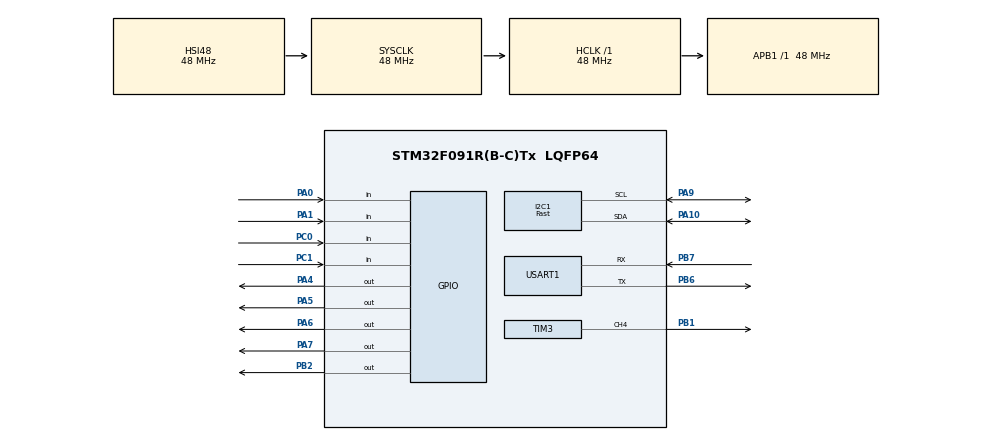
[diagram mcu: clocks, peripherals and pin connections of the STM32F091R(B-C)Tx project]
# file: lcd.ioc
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I2C1.I2C_Speed_Mode=I2C_Fast
I2C1.Timing=0x0010020A
Mcu.Family=STM32F0
Mcu.Name=STM32F091R(B-C)Tx
Mcu.Package=LQFP64
PA0.GPIO_PuPd=GPIO_PULLUP
PA0.Signal=GPIO_Input
PA1.GPIO_PuPd=GPIO_PULLUP
PA1.Signal=GPIO_Input
PA10.GPIO_FMA10=SYSCFG_CFGR1_I2C_FMP_PA10
PA10.GPIO_Pu=GPIO_PULLUP
PA10.Mode=I2C
PA10.Signal=I2C1_SDA
PA13.Mode=Serial_Wire
PA13.Signal=SYS_SWDIO
PA14.Mode=Serial_Wire
PA14.Signal=SYS_SWCLK
PA4.Signal=GPIO_Output
PA5.Signal=GPIO_Output
PA6.Signal=GPIO_Output
PA7.Signal=GPIO_Output
PA9.GPIO_FMA9=SYSCFG_CFGR1_I2C_FMP_PA9
PA9.GPIO_Pu=GPIO_PULLUP
PA9.Mode=I2C
PA9.Signal=I2C1_SCL
PB1.Signal=S_TIM3_CH4
PB2.Signal=GPIO_Output
PB6.Mode=Asynchronous
PB6.Signal=USART1_TX
PB7.Mode=Asynchronous
PB7.Signal=USART1_RX
PC0.GPIO_PuPd=GPIO_PULLUP
PC0.Signal=GPIO_Input
PC1.GPIO_PuPd=GPIO_PULLUP
PC1.Signal=GPIO_Input
PF0-OSC_IN.Mode=HSE-External-Oscillator
PF0-OSC_IN.Signal=RCC_OSC_IN
PF1-OSC_OUT.Mode=HSE-External-Oscillator
PF1-OSC_OUT.Signal=RCC_OSC_OUT
ProjectManager.HeapSize=0x200
ProjectManager.StackSize=0x400
ProjectManager.TargetToolchain=STM32CubeIDE
RCC.AHBFreq_Value=48000000
RCC.APB1Freq_Value=48000000
RCC.APB1TimFreq_Value=48000000
RCC.FLatency-AdvancedSettings=FLASH_LATENCY_1
RCC.HCLKFreq_Value=48000000
RCC.PLLDivider=RCC_PREDIV_DIV2
RCC.PLLMUL=RCC_PLL_MUL12
RCC.PREFETCH_ENABLE-AdvancedSettings=1
RCC.SYSCLKFreq_VALUE=48000000
RCC.SYSCLKSource=RCC_SYSCLKSOURCE_HSI48
SH.S_TIM3_CH4.0=TIM3_CH4,PWM Generation4 CH4
TIM3.Channel-PWM\ Generation4\ CH4=TIM_CHANNEL_4
TIM3.Period=20000
TIM3.Prescaler=200-1
USART1.VirtualMode-Asynchronous=VM_ASYNC
board=NUCLEO-F091RC

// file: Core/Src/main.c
/* USER CODE BEGIN Header */
/**
  ******************************************************************************
  * @file           : main.c
  * @brief          : Main program body
  ******************************************************************************
  */
/* USER CODE END Header */

#include "main.h"
#include "i2c.h"
#include "tim.h"
#include "usart.h"   // Include UART library
#include "gpio.h"
#include "lcd_i2c.h"
#include <string.h>
#include "keypad.h"
#include <stdbool.h>
#include <stdio.h>
#include "cmsis_os.h" // FreeRTOS library
#include "FreeRTOS.h"  // FreeRTOS library
#include "task.h"      // FreeRTOS library

/* USER CODE BEGIN PD */
extern I2C_HandleTypeDef hi2c1;

#define PASSWORD "5555"
#define MAX_ATTEMPTS 3
#define SERVO_UNLOCK 2500
#define SERVO_LOCK 500
#define LOCKOUT_TIME 120
#define UART_BUFFER_SIZE 100  // Buffer size for UART communication

/* USER CODE END PD */

/* USER CODE BEGIN PV */
char entered_password[5] = "";
uint8_t password_index = 0;
uint8_t attempt_count = 0;
bool keypad_locked = false;
bool lockout_active = false;
char uart_rx_buffer[UART_BUFFER_SIZE];  // Buffer for receiving UART data

/* USER CODE END PV */

void SystemClock_Config(void);

/* USER CODE BEGIN PFP */
void set_servo_angle(TIM_HandleTypeDef *htim, uint16_t channel, uint8_t angle);
void reset_password_input();
void check_password();
void handle_lockout();
void send_uart_command(const char *cmd);
void receive_uart_response();
void send_firebase_alert();  // New function to send alert to Firebase
/* USER CODE END PFP */

/* USER CODE BEGIN 0 */
void send_uart_command(const char *cmd) {
    HAL_UART_Transmit(&huart1, (uint8_t *)cmd, strlen(cmd), HAL_MAX_DELAY);
    HAL_Delay(100);  // Small delay for stability
}

void receive_uart_response() {
    memset(uart_rx_buffer, 0, UART_BUFFER_SIZE);
    HAL_UART_Receive(&huart1, (uint8_t *)uart_rx_buffer, UART_BUFFER_SIZE - 1, 1000);
    // Display ESP32 response on LCD
    lcd_clear();
    lcd_send_string("          ESP32 Response:");
    LCD_SetCursor(1, 0);
    lcd_send_string(uart_rx_buffer);
    HAL_Delay(2000);
}

// 🔹 New function to send an alert to Firebase after 3 failed attempts
void send_firebase_alert() {
    lcd_clear();
    lcd_send_string("          Sending Alert...");
    HAL_Delay(2000);

    send_uart_command("FIREBASE_ALERT\n");  // Command to notify Firebase
    HAL_Delay(2000);

    lcd_clear();
    lcd_send_string("          Alert Sent!");
    HAL_Delay(2000);
}

void reset_password_input() {
    memset(entered_password, 0, sizeof(entered_password));
    password_index = 0;
    lcd_clear();
    lcd_send_string("          Password:");
}

void set_servo_angle(TIM_HandleTypeDef *htim, uint16_t channel, uint8_t angle) {
    uint16_t pulse_length = SERVO_LOCK + ((SERVO_UNLOCK - SERVO_LOCK) * angle) / 180;
    __HAL_TIM_SET_COMPARE(htim, channel, pulse_length);
}

void check_password() {
    if (password_index != 4) return;
    entered_password[password_index] = '\0';

    if (strcmp(entered_password, PASSWORD) == 0) {
        lcd_clear();
        lcd_send_string("          Access Granted");
        HAL_Delay(2000);
        lcd_clear();
        lcd_send_string("          Door Unlocked");
        set_servo_angle(&htim3, TIM_CHANNEL_4, 210);
        HAL_Delay(3000);
        attempt_count = 0;
    } else {
        attempt_count++;
        lcd_clear();
        lcd_send_string("          Wrong Password!");
        HAL_Delay(2000);

        if (attempt_count >= MAX_ATTEMPTS) {
            keypad_locked = true;
            lockout_active = true;

            // 🔹 Send "CAPTURE" command to ESP32-CAM after 3rd failed attempt
            lcd_clear();
            lcd_send_string("          CapturingImage...");
            HAL_Delay(500);
            send_uart_command("C");  // Send UART command
            HAL_Delay(2000);
            send_uart_command("C");  // Send UART command
            HAL_Delay(2000);
            send_uart_command("C");  // Send UART command
            HAL_Delay(2000);
            receive_uart_response();  // Optional: Receive response from ESP32-CAM

            send_firebase_alert();
        } else {
            set_servo_angle(&htim3, TIM_CHANNEL_4, 0);
        }
    }
    reset_password_input();
}

void handle_lockout() {
    if (!lockout_active) return;
    lcd_clear();
    lcd_send_string("          Too many tries");
    HAL_Delay(1000);
    lcd_clear();
    lcd_send_string("          Locking for 2min");
    HAL_Delay(2000);

    for (int i = LOCKOUT_TIME; i >= 0; i--) {
        char buffer[120];
        sprintf(buffer, "            Wait: %dsec", i);
        lcd_clear();
        lcd_send_string(buffer);
        HAL_Delay(1000);
    }
    keypad_locked = false;
    lockout_active = false;
    attempt_count = 0;
    lcd_clear();
    lcd_send_string("             Try again!");
    HAL_Delay(1000);
    reset_password_input();
}

int main(void) {
    char key;

    HAL_Init();
    SystemClock_Config();
    MX_GPIO_Init();
    MX_I2C1_Init();
    MX_TIM3_Init();
    MX_USART1_UART_Init();  // Initialize UART1 for ESP32-CAM communication

    keypad_init();
    lcd_init();
    lcd_clear();
    lcd_send_string("          Smart Lock Ready");
    HAL_Delay(5000);
    reset_password_input();

    HAL_TIM_PWM_Start(&htim3, TIM_CHANNEL_4);
    set_servo_angle(&htim3, TIM_CHANNEL_4, 0);

    // Send a test command to ESP32-CAM
    send_uart_command("AT+RST\r\n");
    HAL_Delay(1000);
    receive_uart_response();

    while (1) {
        if (keypad_locked) {
            handle_lockout();
        } else {
            key = keypad_get_key();

            if (key != 0) {
                if (key == '*' && password_index == 4) {
                    check_password();
                } else if (key == '0') {
                    reset_password_input();
                } else if (password_index < 4) {
                    entered_password[password_index++] = key;
                    lcd_send_data(key);
                }
            }
        }
    }
}

void SystemClock_Config(void) {
  RCC_OscInitTypeDef RCC_OscInitStruct = {0};
  RCC_ClkInitTypeDef RCC_ClkInitStruct = {0};

  RCC_OscInitStruct.OscillatorType = RCC_OSCILLATORTYPE_HSI | RCC_OSCILLATORTYPE_HSI48;
  RCC_OscInitStruct.HSIState = RCC_HSI_ON;
  RCC_OscInitStruct.HSI48State = RCC_HSI48_ON;
  RCC_OscInitStruct.HSICalibrationValue = RCC_HSICALIBRATION_DEFAULT;
  RCC_OscInitStruct.PLL.PLLState = RCC_PLL_NONE;
  if (HAL_RCC_OscConfig(&RCC_OscInitStruct) != HAL_OK) {
    Error_Handler();
  }

  RCC_ClkInitStruct.ClockType = RCC_CLOCKTYPE_HCLK | RCC_CLOCKTYPE_SYSCLK | RCC_CLOCKTYPE_PCLK1;
  RCC_ClkInitStruct.SYSCLKSource = RCC_SYSCLKSOURCE_HSI48;
  RCC_ClkInitStruct.AHBCLKDivider = RCC_SYSCLK_DIV1;
  RCC_ClkInitStruct.APB1CLKDivider = RCC_HCLK_DIV1;
  if (HAL_RCC_ClockConfig(&RCC_ClkInitStruct, FLASH_LATENCY_1) != HAL_OK) {
    Error_Handler();
  }
}

/**
  * @brief Error Handler
  */
void Error_Handler(void) {
  __disable_irq();
  while (1) { }
}
